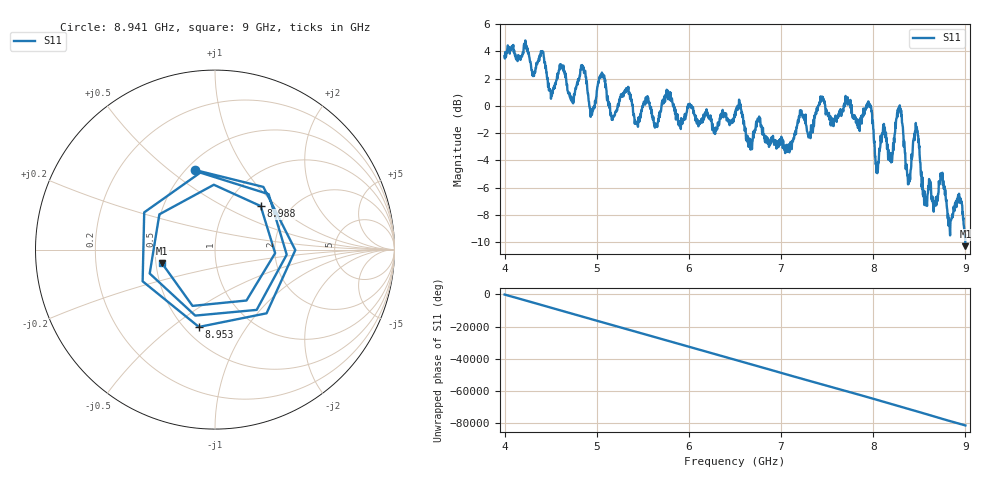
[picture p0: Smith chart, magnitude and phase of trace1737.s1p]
! Created with skrf 1.8.0 (http://scikit-rf.org).
# Hz S RI R 50.0
!freq ReS11 ImS11
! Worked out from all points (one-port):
!   1601 points, 4 GHz to 9 GHz, reference 50 ohm
!   lowest |S11| = -10.3 dB at 9 GHz (marker M1), VSWR 1.88, Z = 26.9 - j4.44 ohm
!   |S11| at or under -10 dB: 8.998974 GHz to end of sweep
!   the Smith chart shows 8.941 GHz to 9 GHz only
!   S11 on the Smith chart (normalised r, x): 8.941 GHz: 0.55, +0.62; 8.953 GHz: 0.59, -0.63; 8.988 GHz: 1.43, +0.79; 9 GHz: 0.54, -0.09
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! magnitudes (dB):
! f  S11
! 4 GHz  3.6
! 4.403 GHz  3.9
! 4.506 GHz  0.8
! 4.625 GHz  2.9
! 4.731 GHz  0.3
! 4.853 GHz  2.7
! 4.944 GHz  -0.4
! 5.053 GHz  2.2
! 5.172 GHz  -1.0
! 5.25 GHz  0.4
! 5.875 GHz  -0.6
! 6.5 GHz  -0.5
! 6.662 GHz  -2.7
! 7.125 GHz  -2.5
! 7.441 GHz  0.4
! 7.75 GHz  0.1
! 7.962 GHz  0.1
! 8.044 GHz  -4.9
! 8.112 GHz  -1.6
! 8.197 GHz  -3.8
! 8.284 GHz  -0.2
! 8.375 GHz  -5.3
! 8.469 GHz  -1.6
! 8.562 GHz  -7.0
! 8.941 GHz  -6.8
! 8.953 GHz  -7.1
! 8.988 GHz  -9.1
! 9 GHz  -10.3
